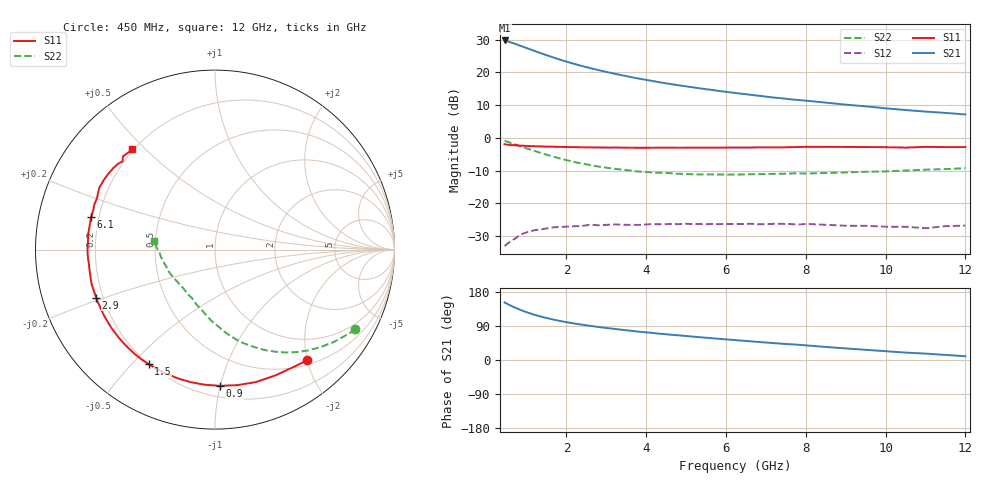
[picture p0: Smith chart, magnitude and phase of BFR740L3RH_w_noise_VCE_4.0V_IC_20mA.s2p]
! (c) 2012  Infineon Technologies AG, Munich
! Infineon Technologies  Discrete & RF Semiconductors
! BFR740L3RH
! VCE =  4.0 V,  IC =  20 mA
! Common Emitter S-Parameters:  May 2012
# GHz  S  MA  R  50
!  f  S11  S21  S12  S22
! GHz  MAG  ANG  MAG  ANG  MAG  ANG  MAG  ANG
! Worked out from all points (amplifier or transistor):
!   85 points, 450 MHz to 12 GHz, reference 50 ohm
!   highest |S21| = 29.7 dB at 450 MHz (marker M1)
!   |S21| within 3 dB of that: start of sweep to 1.156 GHz
!   unconditionally stable (mu >= 1): 6.684 GHz to end of sweep
!   at 1.8 GHz: K = 0.26, MSG = 25.6 dB, |S12| = -27.2 dB
!   at 4.6 GHz: K = 0.68, MSG = 21.4 dB, |S12| = -26.2 dB
!   at 12 GHz: K = 2.07, MAG = 11.1 dB, |S12| = -26.7 dB
!   lowest NFmin = 0.90 dB at 450 MHz
!   S11 on the Smith chart (normalised r, x): 450 MHz: 0.57, -2.00; 900 MHz: 0.28, -1.00; 1.5 GHz: 0.20, -0.56; 2.9 GHz: 0.17, -0.19; 6.1 GHz: 0.17, +0.12; 12 GHz: 0.19, +0.46
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0.45  0.8027 -50.3  30.71 151.9  0.0223 56.9  0.9002 -29.6
0.6  0.7778 -64.1  28.77 143.6  0.0263 57.0  0.8395 -37.7
0.7  0.7724 -72.8  27.44 138.7  0.0288 54.0  0.8011 -42.7
0.8  0.7654 -80.6  26.08 134.2  0.0319 50.2  0.7637 -47.4
0.9  0.7597 -87.9  24.78 130.1  0.0345 46.1  0.728 -51.7
1  0.755 -94.5  23.54 126.2  0.0362 43.1  0.6945 -55.6
1.2  0.7467 -106.0  21.26 119.4  0.0391 38.9  0.6328 -62.7
1.3  0.7429 -111.2  20.2 116.3  0.0399 36.2  0.6045 -65.9
1.5  0.7376 -120.1  18.33 110.9  0.0416 32.5  0.5555 -71.7
1.7  0.7334 -127.9  16.67 106.1  0.0433 30.0  0.5129 -77.0
1.9  0.7287 -134.7  15.24 101.8  0.044 27.4  0.4746 -81.6
2.1  0.7243 -140.6  14.01 98.0  0.0446 25.9  0.4427 -85.7
2.4  0.7198 -147.9  12.46 93.1  0.0456 23.1  0.4058 -91.5
2.9  0.7144 -158.0  10.5 85.8  0.0466 19.6  0.3588 -99.5
3.6  0.7087 -169.2  8.515 77.3  0.0472 18.1  0.3173 -110.0
4.3  0.7096 -177.5  7.131 69.8  0.0482 17.1  0.2948 -118.4
5.2  0.7109 173.0  5.875 61.4  0.0485 15.1  0.2782 -129.4
6.1  0.713 165.4  4.969 53.6  0.0486 14.8  0.2756 -139.4
6.3  0.7129 163.8  4.799 51.8  0.0487 13.9  0.2771 -141.6
8.5  0.7309 147.6  3.459 34.4  0.0472 13.3  0.2917 -164.2
10.5  0.712 136.4  2.664 19.6  0.0441 16.5  0.3177 -179.0
12  0.725 129.7  2.281 9.9  0.046 27.1  0.3453 171.9
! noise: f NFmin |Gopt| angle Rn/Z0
0.45  0.9  0.05  14  0.11
0.9  0.9  0.05  39  0.11
1.5  0.91  0.07  66  0.1
1.9  0.92  0.09  79  0.11
2.4  0.94  0.11  89  0.11
3.5  1  0.14  106  0.1
5.5  1.13  0.2  130  0.1
8  1.32  0.27  162  0.09
10  1.5  0.31  -166  0.09
12  1.67  0.34  -144  0.12
